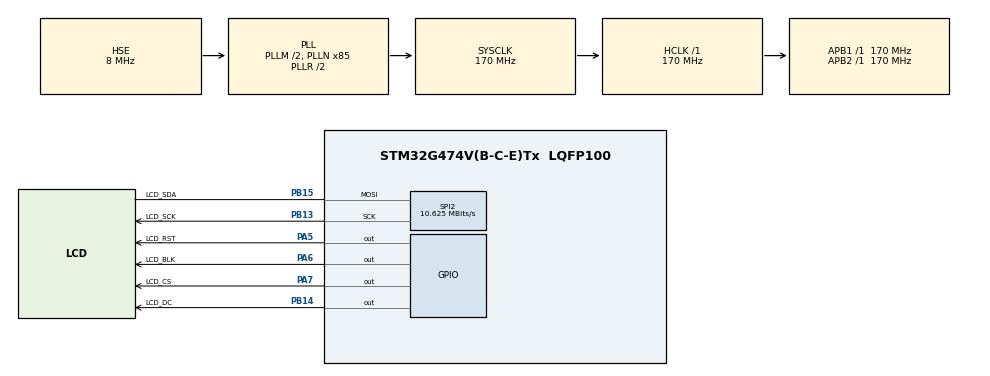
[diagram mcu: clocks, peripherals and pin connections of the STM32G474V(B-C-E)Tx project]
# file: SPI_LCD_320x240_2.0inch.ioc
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Mcu.Family=STM32G4
Mcu.Name=STM32G474V(B-C-E)Tx
Mcu.Package=LQFP100
NVIC.PriorityGroup=NVIC_PRIORITYGROUP_4
PA5.GPIO_Label=LCD_RST
PA5.Signal=GPIO_Output
PA6.GPIO_Label=LCD_BLK
PA6.Signal=GPIO_Output
PA7.GPIO_Label=LCD_CS
PA7.Signal=GPIO_Output
PB13.GPIO_Label=LCD_SCK
PB13.GPIO_PuPd=GPIO_PULLUP
PB13.GPIO_Speed=GPIO_SPEED_FREQ_HIGH
PB13.Mode=Simplex_Bidirectional_Master
PB13.Signal=SPI2_SCK
PB14.GPIO_Label=LCD_DC
PB14.Signal=GPIO_Output
PB15.GPIO_Label=LCD_SDA
PB15.GPIO_PuPd=GPIO_PULLUP
PB15.GPIO_Speed=GPIO_SPEED_FREQ_HIGH
PB15.Mode=Simplex_Bidirectional_Master
PB15.Signal=SPI2_MOSI
PF0-OSC_IN.Mode=HSE-External-Oscillator
PF0-OSC_IN.Signal=RCC_OSC_IN
PF1-OSC_OUT.Mode=HSE-External-Oscillator
PF1-OSC_OUT.Signal=RCC_OSC_OUT
ProjectManager.HeapSize=0x200
ProjectManager.StackSize=0x400
ProjectManager.TargetToolchain=MDK-ARM V5.32
RCC.ADC12Freq_Value=170000000
RCC.ADC345Freq_Value=170000000
RCC.AHBFreq_Value=170000000
RCC.APB1Freq_Value=170000000
RCC.APB1TimFreq_Value=170000000
RCC.APB2Freq_Value=170000000
RCC.APB2TimFreq_Value=170000000
RCC.CortexFreq_Value=170000000
RCC.EXTERNAL_CLOCK_VALUE=12288000
RCC.FLatency=FLASH_LATENCY_4
RCC.HCLKFreq_Value=170000000
RCC.HSE_VALUE=8000000
RCC.HSI48_VALUE=48000000
RCC.HSI_VALUE=16000000
RCC.LSE_VALUE=32768
RCC.PLLM=RCC_PLLM_DIV2
RCC.PLLN=85
RCC.PLLSourceVirtual=RCC_PLLSOURCE_HSE
RCC.PWR_Regulator_Voltage_Scale=PWR_REGULATOR_VOLTAGE_SCALE1_BOOST
RCC.SYSCLKFreq_VALUE=170000000
RCC.SYSCLKSource=RCC_SYSCLKSOURCE_PLLCLK
RCC.USBFreq_Value=170000000
RCC.VCOOutputFreq_Value=340000000
SPI2.BaudRatePrescaler=SPI_BAUDRATEPRESCALER_16
SPI2.CLKPhase=SPI_PHASE_2EDGE
SPI2.CLKPolarity=SPI_POLARITY_HIGH
SPI2.CRCCalculation=SPI_CRCCALCULATION_DISABLE
SPI2.CalculateBaudRate=10.625 MBits/s
SPI2.DataSize=SPI_DATASIZE_8BIT
SPI2.Direction=SPI_DIRECTION_1LINE
SPI2.FirstBit=SPI_FIRSTBIT_MSB
SPI2.Mode=SPI_MODE_MASTER
SPI2.NSS=SPI_NSS_SOFT
SPI2.TIMode=SPI_TIMODE_DISABLE
SPI2.VirtualType=VM_MASTER
VP_SYS_VS_DBSignals.Mode=DisableDeadBatterySignals
board=custom

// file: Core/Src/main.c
/* USER CODE BEGIN Header */
/**
  ******************************************************************************
  * @file           : main.c
  * @brief          : Main program body
  ******************************************************************************
  * @attention
  *
  * Copyright (c) 2024 STMicroelectronics.
  * All rights reserved.
  *
  * This software is licensed under terms that can be found in the LICENSE file
  * in the root directory of this software component.
  * If no LICENSE file comes with this software, it is provided AS-IS.
  *
  ******************************************************************************
  */
/* USER CODE END Header */
#include "main.h"
#include "spi.h"
#include "gpio.h"

/* USER CODE BEGIN Includes */
#include "lcd.h"
#include "logo.h"
/* USER CODE END Includes */

/* USER CODE BEGIN PV */
static uint16_t line_buffer[320];

lcd_io lcd_io_desc = {
    .spi = &hspi2,
    .rst = {LCD_RST_GPIO_Port, LCD_RST_Pin, 0},
    .bl  = {LCD_BLK_GPIO_Port, LCD_BLK_Pin, 0},
    .cs  = {LCD_CS_GPIO_Port,  LCD_CS_Pin,  0},
    .dc  = {LCD_DC_GPIO_Port,  LCD_DC_Pin,  0},
    .te  = { /* TE */ }
};

lcd lcd_desc = {
    .io = &lcd_io_desc,
    .line_buffer = line_buffer,
};

/* USER CODE END PV */

void SystemClock_Config(void);

int main(void)
{

  /* USER CODE BEGIN 1 */
  int count = 0;
  /* USER CODE END 1 */

  /* MCU Configuration--------------------------------------------------------*/

  /* Reset of all peripherals, Initializes the Flash interface and the Systick. */
  HAL_Init();

  /* Configure the system clock */
  SystemClock_Config();

  /* Initialize all configured peripherals */
  MX_GPIO_Init();
  MX_SPI2_Init();
  /* USER CODE BEGIN 2 */
  lcd_init_dev(&lcd_desc, LCD_2_00_INCH, LCD_ROTATE_90);

  lcd_print(&lcd_desc, 0, 10, "> X Pulse");
  lcd_print(&lcd_desc, 0, 30, "> STM32 lcd demo");
  lcd_print(&lcd_desc, 0, 50, "> LCD 2.0 inch 320x240");
  lcd_print(&lcd_desc, 0, 70, "> 2024/9/1");

  lcd_show_picture(&lcd_desc, 240, 160, 80, 80, (uint8_t *)logo);

  lcd_set_font(&lcd_desc, FONT_2412, YELLOW, BLACK);
  /* USER CODE END 2 */

  /* Infinite loop */
  /* USER CODE BEGIN WHILE */
  while (1)
  {
    lcd_print(&lcd_desc, 0, 120, "> count:%d", count++);
    HAL_Delay(1000);
    /* USER CODE END WHILE */

  }
}

void SystemClock_Config(void)
{
  RCC_OscInitTypeDef RCC_OscInitStruct = {0};
  RCC_ClkInitTypeDef RCC_ClkInitStruct = {0};

  /** Configure the main internal regulator output voltage
  */
  HAL_PWREx_ControlVoltageScaling(PWR_REGULATOR_VOLTAGE_SCALE1_BOOST);

  /** Initializes the RCC Oscillators according to the specified parameters
  * in the RCC_OscInitTypeDef structure.
  */
  RCC_OscInitStruct.OscillatorType = RCC_OSCILLATORTYPE_HSE;
  RCC_OscInitStruct.HSEState = RCC_HSE_ON;
  RCC_OscInitStruct.PLL.PLLState = RCC_PLL_ON;
  RCC_OscInitStruct.PLL.PLLSource = RCC_PLLSOURCE_HSE;
  RCC_OscInitStruct.PLL.PLLM = RCC_PLLM_DIV2;
  RCC_OscInitStruct.PLL.PLLN = 85;
  RCC_OscInitStruct.PLL.PLLP = RCC_PLLP_DIV2;
  RCC_OscInitStruct.PLL.PLLQ = RCC_PLLQ_DIV2;
  RCC_OscInitStruct.PLL.PLLR = RCC_PLLR_DIV2;
  if (HAL_RCC_OscConfig(&RCC_OscInitStruct) != HAL_OK)
  {
    Error_Handler();
  }

  /** Initializes the CPU, AHB and APB buses clocks
  */
  RCC_ClkInitStruct.ClockType = RCC_CLOCKTYPE_HCLK|RCC_CLOCKTYPE_SYSCLK
                              |RCC_CLOCKTYPE_PCLK1|RCC_CLOCKTYPE_PCLK2;
  RCC_ClkInitStruct.SYSCLKSource = RCC_SYSCLKSOURCE_PLLCLK;
  RCC_ClkInitStruct.AHBCLKDivider = RCC_SYSCLK_DIV1;
  RCC_ClkInitStruct.APB1CLKDivider = RCC_HCLK_DIV1;
  RCC_ClkInitStruct.APB2CLKDivider = RCC_HCLK_DIV1;

  if (HAL_RCC_ClockConfig(&RCC_ClkInitStruct, FLASH_LATENCY_4) != HAL_OK)
  {
    Error_Handler();
  }
}

void Error_Handler(void)
{
  __disable_irq();
  while (1)
  {
  }
}
